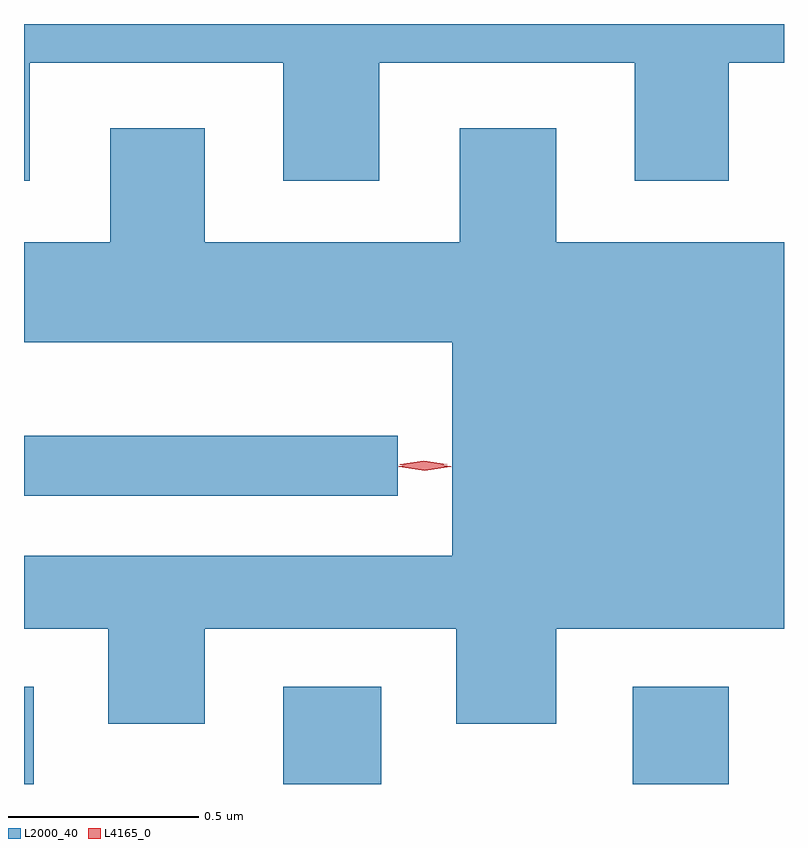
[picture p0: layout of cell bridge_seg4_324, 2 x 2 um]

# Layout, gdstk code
import gdstk
lib = gdstk.Library(unit=1e-6, precision=1e-09)
def R(c, l, rs):  # rectangles x0, y0, x1, y1
    for r in rs: c.add(gdstk.rectangle(r[:2], r[2:], *l))
def P(c, l, *ps):  # polygons
    for p in ps: c.add(gdstk.Polygon(p, *l))
L2000_40 = (2000, 40)
L4165_0 = (4165, 0)

bridge_seg4_324 = lib.new_cell('bridge_seg4_324')
R(bridge_seg4_324, L2000_40, [(753.114,1281.738,753.139,1281.994), (753.796,1281.738,754.054,1281.994), (754.716,1281.738,754.969,1281.994), (753.114,1282.496,754.098,1282.654)])
P(bridge_seg4_324, L2000_40, [(753.129,1283.636),(753.796,1283.636),(753.796,1283.326),(754.049,1283.326),(754.049,1283.636),(754.721,1283.636),(754.721,1283.326),(754.969,1283.326),(754.969,1283.636),(755.114,1283.636),(755.114,1283.738),(753.114,1283.738),(753.114,1283.326),(753.129,1283.326)],
  [(753.589,1282.146),(754.251,1282.146),(754.251,1281.896),(754.514,1281.896),(754.514,1282.146),(755.114,1282.146),(755.114,1283.164),(754.514,1283.164),(754.514,1283.464),(754.261,1283.464),(754.261,1283.164),(753.589,1283.164),(753.589,1283.464),(753.341,1283.464),(753.341,1283.164),(753.114,1283.164),(753.114,1282.901),(754.241,1282.901),(754.241,1282.339),(753.114,1282.339),(753.114,1282.146),(753.336,1282.146),(753.336,1281.896),(753.589,1281.896)])
P(bridge_seg4_324, L4165_0, [(754.166,1282.569),(754.104,1282.578),(754.103,1282.579),(754.104,1282.58),(754.166,1282.589),(754.227,1282.58),(754.228,1282.58),(754.227,1282.579)],
  [(754.169,1282.563),(754.1,1282.573),(754.1,1282.573),(754.1,1282.574),(754.169,1282.583),(754.237,1282.574),(754.238,1282.573),(754.237,1282.573)])

lib.write_gds('bridge_seg4_324.gds')
